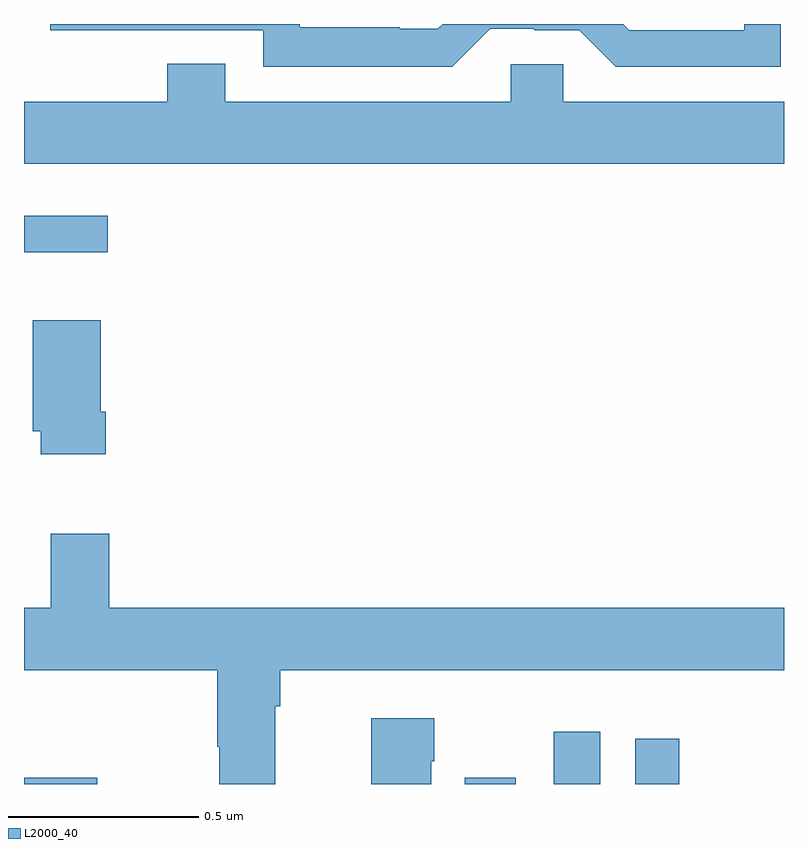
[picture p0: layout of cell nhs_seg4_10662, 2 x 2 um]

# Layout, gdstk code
import gdstk
lib = gdstk.Library(unit=1e-6, precision=1e-09)
def R(c, l, rs):  # rectangles x0, y0, x1, y1
    for r in rs: c.add(gdstk.rectangle(r[:2], r[2:], *l))
def P(c, l, *ps):  # polygons
    for p in ps: c.add(gdstk.Polygon(p, *l))
L2000_40 = (2000, 40)

nhs_seg4_10662 = lib.new_cell('nhs_seg4_10662')
R(nhs_seg4_10662, L2000_40, [(243,749.9,243.193,749.917), (244.16,749.9,244.294,749.917), (244.394,749.9,244.516,750.037), (244.608,749.9,244.724,750.019), (243,751.299,243.22,751.396)])
P(nhs_seg4_10662, L2000_40, [(244.227,751.887),(244.343,751.887),(244.343,751.884),(244.461,751.884),(244.557,751.788),(244.992,751.788),(244.992,751.9),(244.896,751.9),(244.896,751.884),(244.593,751.884),(244.577,751.9),(244.102,751.9),(244.089,751.887),(243.989,751.887),(243.989,751.891),(243.726,751.891),(243.726,751.9),(243.069,751.9),(243.069,751.884),(243.63,751.884),(243.63,751.787),(244.127,751.787)],
  [(245,751.696),(244.419,751.696),(244.419,751.794),(244.281,751.794),(244.281,751.696),(243.529,751.696),(243.529,751.795),(243.377,751.795),(243.377,751.696),(243,751.696),(243,751.532),(245,751.532)],
  [(243.215,750.88),(243.202,750.88),(243.202,751.12),(243.023,751.12),(243.023,750.828),(243.044,750.828),(243.044,750.768),(243.215,750.768)],
  [(243.661,750.104),(243.674,750.104),(243.674,750.2),(245,750.2),(245,750.364),(243.224,750.364),(243.224,750.559),(243.071,750.559),(243.071,750.364),(243,750.364),(243,750.2),(243.509,750.2),(243.509,749.998),(243.514,749.998),(243.514,749.9),(243.661,749.9)],
  [(244.072,749.96),(244.08,749.96),(244.08,750.073),(243.914,750.073),(243.914,749.9),(244.072,749.9)])

lib.write_gds('nhs_seg4_10662.gds')
